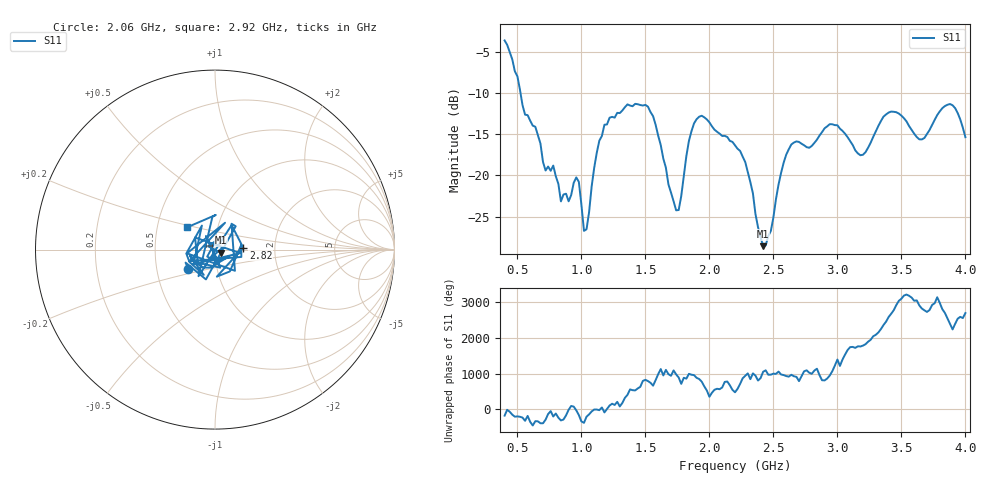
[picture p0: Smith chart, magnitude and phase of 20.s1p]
!Created with skrf (http://scikit-rf.org).
# Hz S RI R 50.0
!freq ReS11 ImS11
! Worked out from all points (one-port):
!   181 points, 400 MHz to 4 GHz, reference 50 ohm
!   lowest |S11| = -28.6 dB at 2.42 GHz (marker M1), VSWR 1.08, Z = 53.3 - j1.88 ohm
!   |S11| at or under -10 dB: 524.2 MHz to end of sweep
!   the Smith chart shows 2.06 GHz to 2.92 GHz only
!   S11 on the Smith chart (normalised r, x): 2.06 GHz: 0.73, -0.16; 2.82 GHz: 1.37, +0.03; 2.92 GHz: 0.71, +0.18
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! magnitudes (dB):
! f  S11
! 400 MHz  -3.6
! 720 MHz  -19.4
! 780 MHz  -18.8
! 860 MHz  -22.3
! 960 MHz  -20.2
! 1.02 GHz  -26.7
! 1.04 GHz  -26.5
! 1.14 GHz  -15.8
! 1.3 GHz  -12.4
! 1.52 GHz  -11.7
! 1.76 GHz  -24.2
! 1.88 GHz  -13.7
! 2.06 GHz  -14.7
! 2.2 GHz  -16.3
! 2.28 GHz  -18.4
! 2.42 GHz  -28.6
! 2.48 GHz  -26.8
! 2.58 GHz  -18.5
! 2.66 GHz  -16.0
! 2.82 GHz  -16.1
! 2.92 GHz  -14.0
! 3.1 GHz  -15.8
! 3.2 GHz  -17.5
! 3.42 GHz  -12.3
! 3.56 GHz  -14.0
! 3.66 GHz  -15.6
! 3.88 GHz  -11.3
! 4 GHz  -15.4
